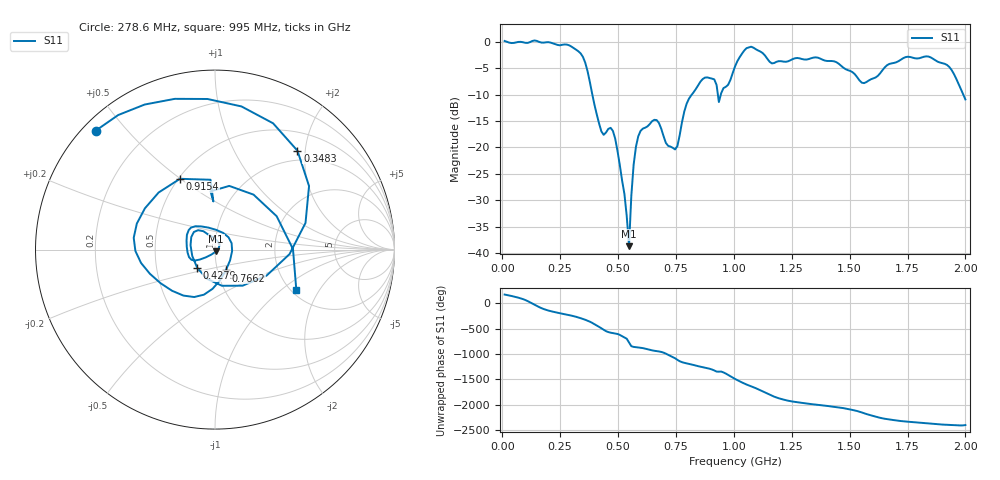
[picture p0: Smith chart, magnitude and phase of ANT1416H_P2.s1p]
!Created with skrf (http://scikit-rf.org).
# Hz S RI R 50.0
!freq ReS11 ImS11
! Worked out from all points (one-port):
!   201 points, 10 MHz to 2 GHz, reference 50 ohm
!   lowest |S11| = -38.7 dB at 547.3 MHz (marker M1), VSWR 1.02, Z = 50.7 - j0.964 ohm
!   |S11| at or under -10 dB: 388.8 MHz to 818.6 MHz (429.8 MHz wide, 71.2 % of centre); 931 MHz to 943.8 MHz (12.82 MHz wide, 1.37 % of centre); 1.990636 GHz to end of sweep
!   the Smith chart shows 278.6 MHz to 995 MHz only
!   S11 on the Smith chart (normalised r, x): 278.6 MHz: 0.04, +0.41; 348.3 MHz: 0.81, +1.85; 427.9 MHz: 0.80, -0.17; 766.2 MHz: 1.10, -0.26; 915.5 MHz: 0.51, +0.50; 995 MHz: 2.13, -1.28
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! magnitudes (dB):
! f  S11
! 10 MHz  0.1
! 258.8 MHz  -0.6
! 278.6 MHz  -0.6
! 348.3 MHz  -2.9
! 427.9 MHz  -17.0
! 477.6 MHz  -16.9
! 507.5 MHz  -23.3
! 527.4 MHz  -28.8
! 547.3 MHz  -38.7
! 567.2 MHz  -23.3
! 597 MHz  -16.9
! 666.7 MHz  -14.8
! 716.5 MHz  -19.7
! 756.2 MHz  -19.7
! 766.2 MHz  -17.7
! 806 MHz  -10.8
! 915.5 MHz  -7.1
! 935.4 MHz  -11.4
! 995 MHz  -5.9
! 1.005 GHz  -4.7
! 1.075 GHz  -1.0
! 1.164 GHz  -4.1
! 1.254 GHz  -3.3
! 1.502 GHz  -5.5
! 1.562 GHz  -7.8
! 1.751 GHz  -2.8
! 1.92 GHz  -4.4
! 2 GHz  -10.9
